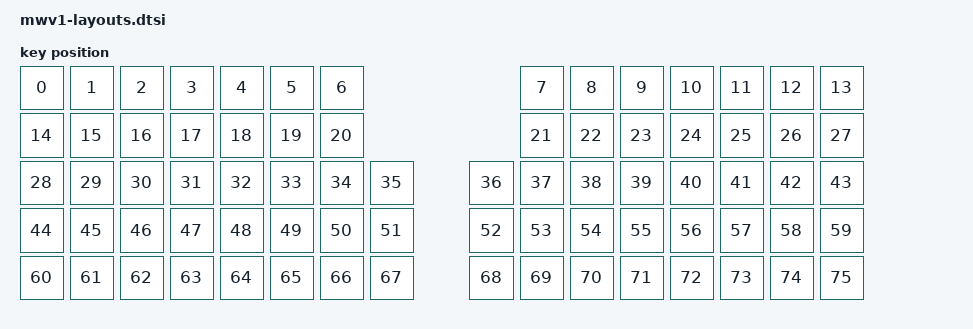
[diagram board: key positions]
#include <physical_layouts.dtsi>

/ {
    mwv1_layout: mwv1_layout {
        compatible = "zmk,physical-layout";
        display-name = "MWV1";

        /* Alle Maße sind auf den aus KiCad ermittelten Rasterabstand normiert. */
        keys  //                         B    H     X    Y   Drehung   RX   RY
            = <&key_physical_attrs      95   95     0    0      0      0    0>
            , <&key_physical_attrs      95   95   100    0      0      0    0>
            , <&key_physical_attrs      95   95   200    0      0      0    0>
            , <&key_physical_attrs      95   95   300    0      0      0    0>
            , <&key_physical_attrs      95   95   400    0      0      0    0>
            , <&key_physical_attrs      95   95   500    0      0      0    0>
            , <&key_physical_attrs      95   95   600    0      0      0    0>
            , <&key_physical_attrs      95   95  1000    0      0      0    0>
            , <&key_physical_attrs      95   95  1100    0      0      0    0>
            , <&key_physical_attrs      95   95  1200    0      0      0    0>
            , <&key_physical_attrs      95   95  1300    0      0      0    0>
            , <&key_physical_attrs      95   95  1400    0      0      0    0>
            , <&key_physical_attrs      95   95  1500    0      0      0    0>
            , <&key_physical_attrs      95   95  1600    0      0      0    0>

            , <&key_physical_attrs      95   95     0   95      0      0    0>
            , <&key_physical_attrs      95   95   100   95      0      0    0>
            , <&key_physical_attrs      95   95   200   95      0      0    0>
            , <&key_physical_attrs      95   95   300   95      0      0    0>
            , <&key_physical_attrs      95   95   400   95      0      0    0>
            , <&key_physical_attrs      95   95   500   95      0      0    0>
            , <&key_physical_attrs      95   95   600   95      0      0    0>
            , <&key_physical_attrs      95   95  1000   95      0      0    0>
            , <&key_physical_attrs      95   95  1100   95      0      0    0>
            , <&key_physical_attrs      95   95  1200   95      0      0    0>
            , <&key_physical_attrs      95   95  1300   95      0      0    0>
            , <&key_physical_attrs      95   95  1400   95      0      0    0>
            , <&key_physical_attrs      95   95  1500   95      0      0    0>
            , <&key_physical_attrs      95   95  1600   95      0      0    0>

            , <&key_physical_attrs      95   95     0  190      0      0    0>
            , <&key_physical_attrs      95   95   100  190      0      0    0>
            , <&key_physical_attrs      95   95   200  190      0      0    0>
            , <&key_physical_attrs      95   95   300  190      0      0    0>
            , <&key_physical_attrs      95   95   400  190      0      0    0>
            , <&key_physical_attrs      95   95   500  190      0      0    0>
            , <&key_physical_attrs      95   95   600  190      0      0    0>
            , <&key_physical_attrs      95   95   700  190      0      0    0>
            , <&key_physical_attrs      95   95   900  190      0      0    0>
            , <&key_physical_attrs      95   95  1000  190      0      0    0>
            , <&key_physical_attrs      95   95  1100  190      0      0    0>
            , <&key_physical_attrs      95   95  1200  190      0      0    0>
            , <&key_physical_attrs      95   95  1300  190      0      0    0>
            , <&key_physical_attrs      95   95  1400  190      0      0    0>
            , <&key_physical_attrs      95   95  1500  190      0      0    0>
            , <&key_physical_attrs      95   95  1600  190      0      0    0>

            , <&key_physical_attrs      95   95     0  285      0      0    0>
            , <&key_physical_attrs      95   95   100  285      0      0    0>
            , <&key_physical_attrs      95   95   200  285      0      0    0>
            , <&key_physical_attrs      95   95   300  285      0      0    0>
            , <&key_physical_attrs      95   95   400  285      0      0    0>
            , <&key_physical_attrs      95   95   500  285      0      0    0>
            , <&key_physical_attrs      95   95   600  285      0      0    0>
            , <&key_physical_attrs      95   95   700  285      0      0    0>
            , <&key_physical_attrs      95   95   900  285      0      0    0>
            , <&key_physical_attrs      95   95  1000  285      0      0    0>
            , <&key_physical_attrs      95   95  1100  285      0      0    0>
            , <&key_physical_attrs      95   95  1200  285      0      0    0>
            , <&key_physical_attrs      95   95  1300  285      0      0    0>
            , <&key_physical_attrs      95   95  1400  285      0      0    0>
            , <&key_physical_attrs      95   95  1500  285      0      0    0>
            , <&key_physical_attrs      95   95  1600  285      0      0    0>

            , <&key_physical_attrs      95   95     0  380      0      0    0>
            , <&key_physical_attrs      95   95   100  380      0      0    0>
            , <&key_physical_attrs      95   95   200  380      0      0    0>
            , <&key_physical_attrs      95   95   300  380      0      0    0>
            , <&key_physical_attrs      95   95   400  380      0      0    0>
            , <&key_physical_attrs      95   95   500  380      0      0    0>
            , <&key_physical_attrs      95   95   600  380      0      0    0>
            , <&key_physical_attrs      95   95   700  380      0      0    0>
            , <&key_physical_attrs      95   95   900  380      0      0    0>
            , <&key_physical_attrs      95   95  1000  380      0      0    0>
            , <&key_physical_attrs      95   95  1100  380      0      0    0>
            , <&key_physical_attrs      95   95  1200  380      0      0    0>
            , <&key_physical_attrs      95   95  1300  380      0      0    0>
            , <&key_physical_attrs      95   95  1400  380      0      0    0>
            , <&key_physical_attrs      95   95  1500  380      0      0    0>
            , <&key_physical_attrs      95   95  1600  380      0      0    0>
            ;
    };
};
